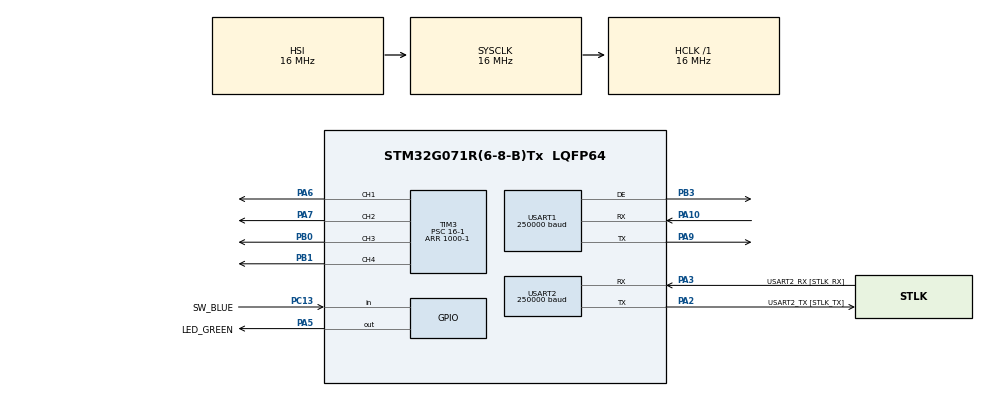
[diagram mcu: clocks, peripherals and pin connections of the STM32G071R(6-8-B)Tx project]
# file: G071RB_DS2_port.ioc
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Mcu.Family=STM32G0
Mcu.Name=STM32G071R(6-8-B)Tx
Mcu.Package=LQFP64
NVIC.USART1_IRQn=true\:0\:0\:false\:false\:true\:true\:true\:true
PA10.Mode=Asynchronous
PA10.Signal=USART1_RX
PA13.GPIO_Label=TMS
PA13.Mode=Serial_Wire
PA13.Signal=SYS_SWDIO
PA14-BOOT0.GPIO_Label=TCK
PA14-BOOT0.Mode=Serial_Wire
PA14-BOOT0.Signal=SYS_SWCLK
PA2.GPIO_Label=USART2_TX [STLK_TX]
PA2.GPIO_PuPd=GPIO_PULLUP
PA2.Mode=Asynchronous
PA2.Signal=USART2_TX
PA3.GPIO_Label=USART2_RX [STLK_RX]
PA3.GPIO_PuPd=GPIO_PULLUP
PA3.Mode=Asynchronous
PA3.Signal=USART2_RX
PA5.GPIO_Label=LED_GREEN
PA5.GPIO_Speed=GPIO_SPEED_FREQ_HIGH
PA5.Signal=GPIO_Output
PA6.Signal=S_TIM3_CH1
PA7.Signal=S_TIM3_CH2
PA9.Mode=Asynchronous
PA9.Signal=USART1_TX
PB0.Signal=S_TIM3_CH3
PB1.Signal=S_TIM3_CH4
PB3.Mode=Hardware Flow Control (RS485)
PB3.Signal=USART1_DE
PC13.GPIO_Label=SW_BLUE
PC13.Signal=GPIO_Input
PC14-OSC32_IN\ (PC14).Mode=LSE-External-Oscillator
PC14-OSC32_IN\ (PC14).Signal=RCC_OSC32_IN
PC15-OSC32_OUT\ (PC15).Mode=LSE-External-Oscillator
PC15-OSC32_OUT\ (PC15).Signal=RCC_OSC32_OUT
PF0-OSC_IN\ (PF0).GPIO_Label=MCO
PF0-OSC_IN\ (PF0).Mode=HSE-External-Clock-Source
PF0-OSC_IN\ (PF0).Signal=RCC_OSC_IN
ProjectManager.HeapSize=0x200
ProjectManager.StackSize=0x400
ProjectManager.TargetToolchain=STM32CubeIDE
RCC.AHBFreq_Value=16000000
RCC.CortexFreq_Value=16000000
RCC.EXTERNAL_CLOCK_VALUE=12288000
RCC.HCLKFreq_Value=16000000
RCC.HSE_VALUE=8000000
RCC.HSI_VALUE=16000000
RCC.SYSCLKFreq_VALUE=16000000
RCC.VCOOutputFreq_Value=128000000
SH.S_TIM3_CH1.0=TIM3_CH1,PWM Generation1 CH1
SH.S_TIM3_CH2.0=TIM3_CH2,PWM Generation2 CH2
SH.S_TIM3_CH3.0=TIM3_CH3,PWM Generation3 CH3
SH.S_TIM3_CH4.0=TIM3_CH4,PWM Generation4 CH4
TIM3.Channel-PWM\ Generation1\ CH1=TIM_CHANNEL_1
TIM3.Channel-PWM\ Generation2\ CH2=TIM_CHANNEL_2
TIM3.Channel-PWM\ Generation3\ CH3=TIM_CHANNEL_3
TIM3.Channel-PWM\ Generation4\ CH4=TIM_CHANNEL_4
TIM3.Period=1000-1
TIM3.Prescaler=16-1
USART1.BaudRate=250000
USART1.VirtualMode-Asynchronous=VM_ASYNC
USART1.VirtualMode-Hardware\ Flow\ Control\ (RS485)=VM_ASYNC
USART2.BaudRate=250000
USART2.VirtualMode-Asynchronous=VM_ASYNC
VP_SYS_VS_DBSignals.Mode=DisableDeadBatterySignals
VP_TIM3_VS_ClockSourceINT.Mode=Internal
board=NUCLEO-G071RB

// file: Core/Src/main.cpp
/* USER CODE BEGIN Header */
/**
  ******************************************************************************
  * @file           : main.c
  * @brief          : Main program body
  ******************************************************************************
  * @attention
  *
  * Copyright (c) 2024 STMicroelectronics.
  * All rights reserved.
  *
  * This software is licensed under terms that can be found in the LICENSE file
  * in the root directory of this software component.
  * If no LICENSE file comes with this software, it is provided AS-IS.
  *
  ******************************************************************************
  */
/* USER CODE END Header */
#include "main.h"

/* USER CODE BEGIN Includes */
#include <cstdio>

/* USER CODE END Includes */

TIM_HandleTypeDef htim3;

UART_HandleTypeDef huart1;
UART_HandleTypeDef huart2;

/* USER CODE BEGIN PV */
uint16_t pwmR, pwmG, pwmB, pwmW;
int8_t stepR, stepG = 20, stepB = -40, stepW = 5;

/* USER CODE END PV */

void SystemClock_Config(void);
static void MX_GPIO_Init(void);
static void MX_USART2_UART_Init(void);
static void MX_TIM3_Init(void);
static void MX_USART1_UART_Init(void);
/* USER CODE BEGIN PFP */

#ifdef __GNUC__
/* With GCC/RAISONANCE, small printf (option LD Linker->Libraries->Small printf
   set to 'Yes') calls __io_putchar() */
#define PUTCHAR_PROTOTYPE int __io_putchar(int ch)
#else
#define PUTCHAR_PROTOTYPE int fputc(int ch, FILE *f)
#endif /* __GNUC__ */

/* USER CODE END PFP */

/* USER CODE BEGIN 0 */
/*
extern "C" int _write(int file, char *ptr, int len) {
	HAL_UART_Transmit(&huart2, (uint8_t*) ptr, len, HAL_MAX_DELAY);
	return len;
}
*/
extern "C" PUTCHAR_PROTOTYPE
{
  /* Place your implementation of fputc here */
  /* e.g. write a character to the USART2 and Loop until the end of transmission */
  HAL_UART_Transmit(&huart2, (uint8_t *)&ch, 1, 0xFFFF);

  return ch;
}

/* USER CODE END 0 */

int main(void)
{

  /* MCU Configuration--------------------------------------------------------*/

  /* Reset of all peripherals, Initializes the Flash interface and the Systick. */
  HAL_Init();

  /* Configure the system clock */
  SystemClock_Config();

  /* Initialize all configured peripherals */
  MX_GPIO_Init();
  MX_USART2_UART_Init();
  MX_TIM3_Init();
  MX_USART1_UART_Init();
  /* USER CODE BEGIN 2 */
	pwmR = 0;
	pwmG = 580;
	pwmB = 900;
	pwmB = 0;

	TIM3->CCR1 = pwmR;
	TIM3->CCR2 = pwmG;
	TIM3->CCR3 = pwmB;
	TIM3->CCR4 = pwmW;
	HAL_TIM_PWM_Start(&htim3, TIM_CHANNEL_1); //coment test
	HAL_TIM_PWM_Start(&htim3, TIM_CHANNEL_2);
	HAL_TIM_PWM_Start(&htim3, TIM_CHANNEL_3);
	HAL_TIM_PWM_Start(&htim3, TIM_CHANNEL_4);

	//HAL_GPIO_WritePin(LED_GREEN_GPIO_Port,LED_GREEN_Pin,GPIO_PIN_SET);

	printf("\r\nG071RB DmxSerial port...\r\n");

  /* USER CODE END 2 */

  /* Infinite loop */
  /* USER CODE BEGIN WHILE */
  while (1)
  {
	  //HAL_GPIO_TogglePin(LED_GREEN_GPIO_Port, LED_GREEN_Pin);
	  //HAL_Delay(500);

		if (pwmR == 0)    stepR = 10;
		if (pwmR == 1000) stepR = -10;
		pwmR += stepR;
		if (pwmG == 0)    stepG = 20;
		if (pwmG == 1000) stepG = -20;
		pwmG += stepG;
		if (pwmB == 0)    stepB = 40;
		if (pwmB == 1000) stepB = -40;
		pwmB += stepB;
		if (pwmW == 0)    stepB = 5;
		if (pwmW == 1000) stepB = -5;
		pwmW += stepW;

		TIM3->CCR1 = pwmR;
		TIM3->CCR2 = pwmG;
		TIM3->CCR3 = pwmB;
		TIM3->CCR4 = pwmW;
		HAL_Delay(9);

    /* USER CODE END WHILE */

  }
}

void SystemClock_Config(void)
{
  RCC_OscInitTypeDef RCC_OscInitStruct = {0};
  RCC_ClkInitTypeDef RCC_ClkInitStruct = {0};

  /** Configure the main internal regulator output voltage
  */
  HAL_PWREx_ControlVoltageScaling(PWR_REGULATOR_VOLTAGE_SCALE1);

  /** Initializes the RCC Oscillators according to the specified parameters
  * in the RCC_OscInitTypeDef structure.
  */
  RCC_OscInitStruct.OscillatorType = RCC_OSCILLATORTYPE_HSI;
  RCC_OscInitStruct.HSIState = RCC_HSI_ON;
  RCC_OscInitStruct.HSIDiv = RCC_HSI_DIV1;
  RCC_OscInitStruct.HSICalibrationValue = RCC_HSICALIBRATION_DEFAULT;
  RCC_OscInitStruct.PLL.PLLState = RCC_PLL_NONE;
  if (HAL_RCC_OscConfig(&RCC_OscInitStruct) != HAL_OK)
  {
    Error_Handler();
  }

  /** Initializes the CPU, AHB and APB buses clocks
  */
  RCC_ClkInitStruct.ClockType = RCC_CLOCKTYPE_HCLK|RCC_CLOCKTYPE_SYSCLK
                              |RCC_CLOCKTYPE_PCLK1;
  RCC_ClkInitStruct.SYSCLKSource = RCC_SYSCLKSOURCE_HSI;
  RCC_ClkInitStruct.AHBCLKDivider = RCC_SYSCLK_DIV1;
  RCC_ClkInitStruct.APB1CLKDivider = RCC_HCLK_DIV1;

  if (HAL_RCC_ClockConfig(&RCC_ClkInitStruct, FLASH_LATENCY_0) != HAL_OK)
  {
    Error_Handler();
  }
}

static void MX_TIM3_Init(void)
{

  TIM_ClockConfigTypeDef sClockSourceConfig = {0};
  TIM_MasterConfigTypeDef sMasterConfig = {0};
  TIM_OC_InitTypeDef sConfigOC = {0};

  htim3.Instance = TIM3;
  htim3.Init.Prescaler = 16-1;
  htim3.Init.CounterMode = TIM_COUNTERMODE_UP;
  htim3.Init.Period = 1000-1;
  htim3.Init.ClockDivision = TIM_CLOCKDIVISION_DIV1;
  htim3.Init.AutoReloadPreload = TIM_AUTORELOAD_PRELOAD_DISABLE;
  if (HAL_TIM_Base_Init(&htim3) != HAL_OK)
  {
    Error_Handler();
  }
  sClockSourceConfig.ClockSource = TIM_CLOCKSOURCE_INTERNAL;
  if (HAL_TIM_ConfigClockSource(&htim3, &sClockSourceConfig) != HAL_OK)
  {
    Error_Handler();
  }
  if (HAL_TIM_PWM_Init(&htim3) != HAL_OK)
  {
    Error_Handler();
  }
  sMasterConfig.MasterOutputTrigger = TIM_TRGO_RESET;
  sMasterConfig.MasterSlaveMode = TIM_MASTERSLAVEMODE_DISABLE;
  if (HAL_TIMEx_MasterConfigSynchronization(&htim3, &sMasterConfig) != HAL_OK)
  {
    Error_Handler();
  }
  sConfigOC.OCMode = TIM_OCMODE_PWM1;
  sConfigOC.Pulse = 0;
  sConfigOC.OCPolarity = TIM_OCPOLARITY_HIGH;
  sConfigOC.OCFastMode = TIM_OCFAST_DISABLE;
  if (HAL_TIM_PWM_ConfigChannel(&htim3, &sConfigOC, TIM_CHANNEL_1) != HAL_OK)
  {
    Error_Handler();
  }
  if (HAL_TIM_PWM_ConfigChannel(&htim3, &sConfigOC, TIM_CHANNEL_2) != HAL_OK)
  {
    Error_Handler();
  }
  if (HAL_TIM_PWM_ConfigChannel(&htim3, &sConfigOC, TIM_CHANNEL_3) != HAL_OK)
  {
    Error_Handler();
  }
  if (HAL_TIM_PWM_ConfigChannel(&htim3, &sConfigOC, TIM_CHANNEL_4) != HAL_OK)
  {
    Error_Handler();
  }
  HAL_TIM_MspPostInit(&htim3);

}

static void MX_USART1_UART_Init(void)
{

  huart1.Instance = USART1;
  huart1.Init.BaudRate = 250000;
  huart1.Init.WordLength = UART_WORDLENGTH_8B;
  huart1.Init.StopBits = UART_STOPBITS_1;
  huart1.Init.Parity = UART_PARITY_NONE;
  huart1.Init.Mode = UART_MODE_TX_RX;
  huart1.Init.HwFlowCtl = UART_HWCONTROL_NONE;
  huart1.Init.OverSampling = UART_OVERSAMPLING_16;
  huart1.Init.OneBitSampling = UART_ONE_BIT_SAMPLE_DISABLE;
  huart1.Init.ClockPrescaler = UART_PRESCALER_DIV1;
  huart1.AdvancedInit.AdvFeatureInit = UART_ADVFEATURE_NO_INIT;
  if (HAL_RS485Ex_Init(&huart1, UART_DE_POLARITY_HIGH, 0, 0) != HAL_OK)
  {
    Error_Handler();
  }
  if (HAL_UARTEx_SetTxFifoThreshold(&huart1, UART_TXFIFO_THRESHOLD_1_8) != HAL_OK)
  {
    Error_Handler();
  }
  if (HAL_UARTEx_SetRxFifoThreshold(&huart1, UART_RXFIFO_THRESHOLD_1_8) != HAL_OK)
  {
    Error_Handler();
  }
  if (HAL_UARTEx_DisableFifoMode(&huart1) != HAL_OK)
  {
    Error_Handler();
  }

}

static void MX_USART2_UART_Init(void)
{

  huart2.Instance = USART2;
  huart2.Init.BaudRate = 250000;
  huart2.Init.WordLength = UART_WORDLENGTH_8B;
  huart2.Init.StopBits = UART_STOPBITS_1;
  huart2.Init.Parity = UART_PARITY_NONE;
  huart2.Init.Mode = UART_MODE_TX_RX;
  huart2.Init.HwFlowCtl = UART_HWCONTROL_NONE;
  huart2.Init.OverSampling = UART_OVERSAMPLING_16;
  huart2.Init.OneBitSampling = UART_ONE_BIT_SAMPLE_DISABLE;
  huart2.Init.ClockPrescaler = UART_PRESCALER_DIV1;
  huart2.AdvancedInit.AdvFeatureInit = UART_ADVFEATURE_NO_INIT;
  if (HAL_UART_Init(&huart2) != HAL_OK)
  {
    Error_Handler();
  }
  if (HAL_UARTEx_SetTxFifoThreshold(&huart2, UART_TXFIFO_THRESHOLD_1_8) != HAL_OK)
  {
    Error_Handler();
  }
  if (HAL_UARTEx_SetRxFifoThreshold(&huart2, UART_RXFIFO_THRESHOLD_1_8) != HAL_OK)
  {
    Error_Handler();
  }
  if (HAL_UARTEx_DisableFifoMode(&huart2) != HAL_OK)
  {
    Error_Handler();
  }

}

static void MX_GPIO_Init(void)
{
  GPIO_InitTypeDef GPIO_InitStruct = {0};

  /* GPIO Ports Clock Enable */
  __HAL_RCC_GPIOC_CLK_ENABLE();
  __HAL_RCC_GPIOF_CLK_ENABLE();
  __HAL_RCC_GPIOA_CLK_ENABLE();
  __HAL_RCC_GPIOB_CLK_ENABLE();

  /*Configure GPIO pin Output Level */
  HAL_GPIO_WritePin(LED_GREEN_GPIO_Port, LED_GREEN_Pin, GPIO_PIN_RESET);

  /*Configure GPIO pin : SW_BLUE_Pin */
  GPIO_InitStruct.Pin = SW_BLUE_Pin;
  GPIO_InitStruct.Mode = GPIO_MODE_INPUT;
  GPIO_InitStruct.Pull = GPIO_NOPULL;
  HAL_GPIO_Init(SW_BLUE_GPIO_Port, &GPIO_InitStruct);

  /*Configure GPIO pin : LED_GREEN_Pin */
  GPIO_InitStruct.Pin = LED_GREEN_Pin;
  GPIO_InitStruct.Mode = GPIO_MODE_OUTPUT_PP;
  GPIO_InitStruct.Pull = GPIO_NOPULL;
  GPIO_InitStruct.Speed = GPIO_SPEED_FREQ_HIGH;
  HAL_GPIO_Init(LED_GREEN_GPIO_Port, &GPIO_InitStruct);

}

void Error_Handler(void)
{
  __disable_irq();
  while (1)
  {
  }
}
